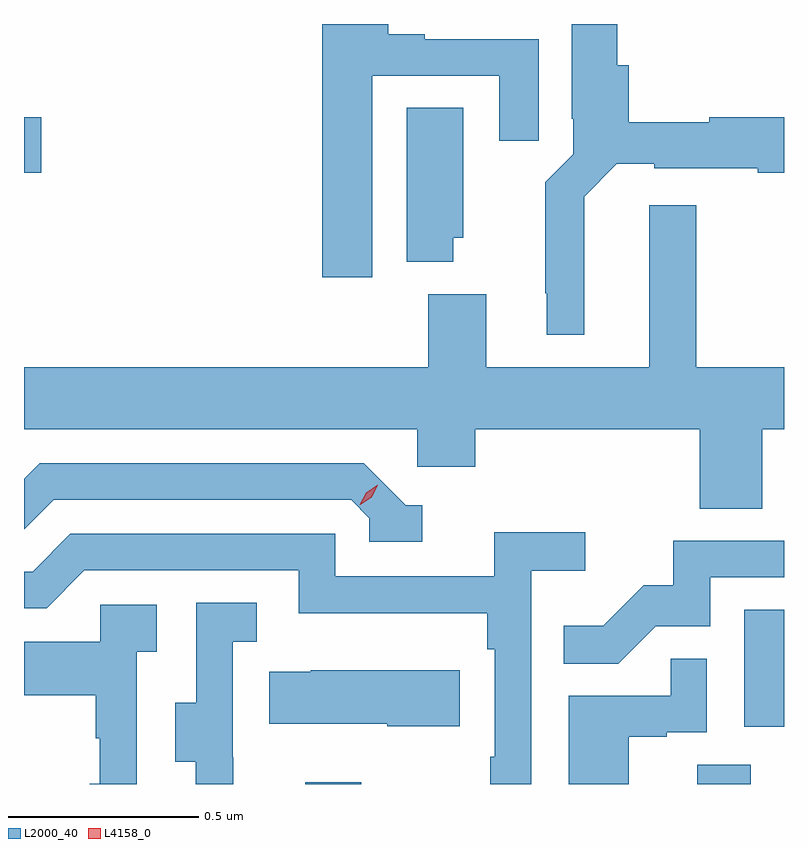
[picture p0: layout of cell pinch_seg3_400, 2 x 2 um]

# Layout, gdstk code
import gdstk
lib = gdstk.Library(unit=1e-6, precision=1e-09)
def R(c, l, rs):  # rectangles x0, y0, x1, y1
    for r in rs: c.add(gdstk.rectangle(r[:2], r[2:], *l))
def P(c, l, *ps):  # polygons
    for p in ps: c.add(gdstk.Polygon(p, *l))
L2000_40 = (2000, 40)
L4158_0 = (4158, 0)

pinch_seg3_400 = lib.new_cell('pinch_seg3_400')
R(pinch_seg3_400, L2000_40, [(935.435,689.327,935.583,689.332), (936.467,689.327,936.607,689.378), (936.59,689.478,936.695,689.785), (934.695,690.935,934.741,691.082)])
P(pinch_seg3_400, L2000_40, [(935.611,691.191),(935.945,691.191),(935.945,691.02),(936.049,691.02),(936.049,691.287),(935.749,691.287),(935.749,691.3),(935.653,691.3),(935.653,691.327),(935.48,691.327),(935.48,690.66),(935.611,690.66)],
  [(936.169,690.872),(936.255,690.959),(936.354,690.959),(936.354,690.947),(936.626,690.947),(936.626,690.935),(936.695,690.935),(936.695,691.082),(936.498,691.082),(936.498,691.069),(936.287,691.069),(936.287,691.218),(936.256,691.218),(936.256,691.327),(936.137,691.327),(936.137,691.078),(936.141,691.078),(936.141,690.984),(936.067,690.91),(936.067,690.619),(936.071,690.619),(936.071,690.509),(936.169,690.509)],
  [(935.824,690.765),(935.851,690.765),(935.851,691.106),(935.702,691.106),(935.702,690.701),(935.824,690.701)],
  [(936.638,690.26),(936.695,690.26),(936.695,690.424),(936.464,690.424),(936.464,690.85),(936.341,690.85),(936.341,690.424),(935.911,690.424),(935.911,690.616),(935.759,690.616),(935.759,690.424),(934.695,690.424),(934.695,690.26),(935.73,690.26),(935.73,690.162),(935.882,690.162),(935.882,690.26),(936.473,690.26),(936.473,690.052),(936.638,690.052)],
  [(935.743,690.06),(935.7,690.06),(935.589,690.171),(934.736,690.171),(934.695,690.13),(934.695,689.997),(934.773,690.075),(935.556,690.075),(935.604,690.027),(935.604,689.964),(935.743,689.964)],
  [(936.03,689.888),(936.172,689.888),(936.172,689.99),(935.933,689.99),(935.933,689.874),(935.514,689.874),(935.514,689.985),(934.817,689.985),(934.718,689.886),(934.695,689.886),(934.695,689.79),(934.755,689.79),(934.854,689.889),(935.418,689.889),(935.418,689.777),(935.914,689.777),(935.914,689.681),(935.934,689.681),(935.934,689.399),(935.922,689.399),(935.922,689.327),(936.03,689.327)],
  [(936.357,689.742),(936.501,689.742),(936.501,689.871),(936.695,689.871),(936.695,689.967),(936.403,689.967),(936.403,689.85),(936.326,689.85),(936.219,689.743),(936.115,689.743),(936.115,689.644),(936.259,689.644)],
  [(935.246,689.397),(935.244,689.397),(935.244,689.701),(935.308,689.701),(935.308,689.804),(935.148,689.804),(935.148,689.541),(935.093,689.541),(935.093,689.386),(935.147,689.386),(935.147,689.327),(935.246,689.327)],
  [(934.992,689.675),(935.044,689.675),(935.044,689.799),(934.896,689.799),(934.896,689.701),(934.695,689.701),(934.695,689.561),(934.884,689.561),(934.884,689.447),(934.894,689.447),(934.894,689.328),(934.868,689.328),(934.868,689.327),(934.992,689.327)],
  [(936.286,689.451),(936.386,689.451),(936.386,689.463),(936.492,689.463),(936.492,689.657),(936.397,689.657),(936.397,689.559),(936.128,689.559),(936.128,689.327),(936.286,689.327)],
  [(935.842,689.626),(935.449,689.626),(935.449,689.623),(935.341,689.623),(935.341,689.486),(935.651,689.486),(935.651,689.479),(935.842,689.479)])
P(pinch_seg3_400, L4158_0, [(935.579,690.062),(935.579,690.062),(935.595,690.094),(935.626,690.114),(935.626,690.114),(935.626,690.113),(935.61,690.081),(935.58,690.062)])

lib.write_gds('pinch_seg3_400.gds')
